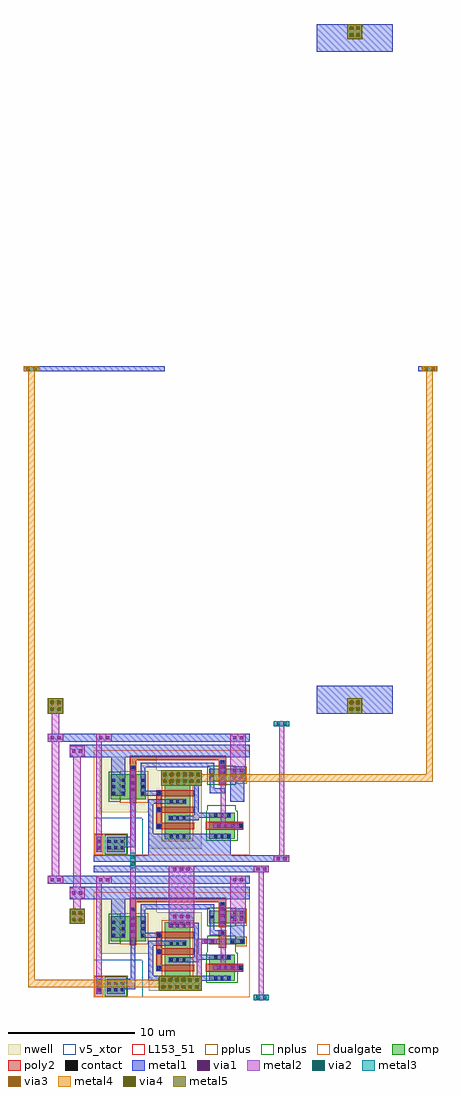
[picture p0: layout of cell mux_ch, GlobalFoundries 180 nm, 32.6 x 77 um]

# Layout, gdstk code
from math import pi, radians
import gdstk
lib = gdstk.Library(unit=1e-6, precision=1e-09)
def R(c, l, rs):  # rectangles x0, y0, x1, y1
    for r in rs: c.add(gdstk.rectangle(r[:2], r[2:], *l))
def A(c, l, x, y, w, h, nx, ny, dx, dy):  # array of equal rectangles
    R(c, l, [(x+i*dx, y+j*dy, x+i*dx+w, y+j*dy+h) for i in range(nx) for j in range(ny)])
def P(c, l, *ps):  # polygons
    for p in ps: c.add(gdstk.Polygon(p, *l))
nwell = (21, 0)
comp = (22, 0)
poly2 = (30, 0)
pplus = (31, 0)
nplus = (32, 0)
contact = (33, 0)
metal1 = (34, 0)
via1 = (35, 0)
metal2 = (36, 0)
via2 = (38, 0)
via3 = (40, 0)
via4 = (41, 0)
metal3 = (42, 0)
metal4 = (46, 0)
dualgate = (55, 0)
metal5 = (81, 0)
v5_xtor = (112, 1)
L153_51 = (153, 51)

via_dev_16 = lib.new_cell('via_dev$16')
R(via_dev_16, metal1, [(0,0,2,0.5)])
A(via_dev_16, via1, 0.34, 0.12, 0.26, 0.26, 3, 1, 0.53, 0)
R(via_dev_16, metal2, [(0,0,2,0.5)])

via_dev_14 = lib.new_cell('via_dev$14')
R(via_dev_14, metal1, [(0,0,2,1.2)])
A(via_dev_14, via1, 0.34, 0.205, 0.26, 0.26, 3, 2, 0.53, 0.53)
R(via_dev_14, metal2, [(0,0,2,1.2)])

via_dev_8 = lib.new_cell('via_dev$8')
R(via_dev_8, metal1, [(0,0,1.2,1.2)])
R(via_dev_8, via1, [(0.205,0.205,0.465,0.465), (0.735,0.205,0.995,0.465), (0.205,0.735,0.465,0.995), (0.735,0.735,0.995,0.995)])
R(via_dev_8, metal2, [(0,0,1.2,1.2)])

via_dev_5 = lib.new_cell('via_dev$5')
R(via_dev_5, metal1, [(0,0,1.2,0.6)])
R(via_dev_5, via1, [(0.205,0.17,0.465,0.43), (0.735,0.17,0.995,0.43)])
R(via_dev_5, metal2, [(0,0,1.2,0.6)])

via_dev_7 = lib.new_cell('via_dev$7')
R(via_dev_7, metal1, [(0,0,2,0.4)])
A(via_dev_7, via1, 0.34, 0.07, 0.26, 0.26, 3, 1, 0.53, 0)
R(via_dev_7, metal2, [(0,0,2,0.4)])

via_dev_4 = lib.new_cell('via_dev$4')
R(via_dev_4, metal1, [(0,0,0.4,2)])
A(via_dev_4, via1, 0.07, 0.34, 0.26, 0.26, 1, 3, 0, 0.53)
R(via_dev_4, metal2, [(0,0,0.4,2)])

via_dev = lib.new_cell('via_dev')
R(via_dev, metal1, [(0,0,3.4,1.2)])
A(via_dev, via1, 0.245, 0.205, 0.26, 0.26, 6, 2, 0.53, 0.53)
R(via_dev, metal2, [(0,0,3.4,1.2)])
A(via_dev, via2, 0.245, 0.205, 0.26, 0.26, 6, 2, 0.53, 0.53)
A(via_dev, via3, 0.245, 0.205, 0.26, 0.26, 6, 2, 0.53, 0.53)
A(via_dev, via4, 0.245, 0.205, 0.26, 0.26, 6, 2, 0.53, 0.53)
R(via_dev, metal3, [(0,0,3.4,1.2)])
R(via_dev, metal4, [(0,0,3.4,1.2)])
R(via_dev, metal5, [(0,0,3.4,1.2)])

pfet_3 = lib.new_cell('pfet$3')
R(pfet_3, nwell, [(-1.32,-1.37,3.17,2.99)])
R(pfet_3, comp, [(-0.46,0,2.31,2)])
R(pfet_3, poly2, [(0.31,-0.68,0.81,2.3)])
R(pfet_3, pplus, [(-0.63,-0.24,1.58,2.24)])
R(pfet_3, nplus, [(1.58,-0.17,2.48,2.17)])
A(pfet_3, contact, -0.34, 0.38, 0.22, 0.22, 1, 3, 0, 0.51)
A(pfet_3, contact, 1.24, 0.38, 0.22, 0.22, 1, 3, 0, 0.51)
A(pfet_3, contact, 1.97, 0.38, 0.22, 0.22, 1, 3, 0, 0.51)
R(pfet_3, contact, [(0.45,-0.6,0.67,-0.38)])
R(pfet_3, metal1, [(0.37,-0.68,0.75,-0.3), (-0.42,0.3,-0.04,1.7), (1.16,0.3,1.54,1.7), (1.89,0.3,2.27,1.7)])
R(pfet_3, dualgate, [(-1.82,-1.87,3.67,3.49)])
R(pfet_3, v5_xtor, [(-1.82,-1.87,3.67,3.49)])

nfet_3 = lib.new_cell('nfet$3')
R(nfet_3, comp, [(-0.42,0,1.64,2)])
R(nfet_3, poly2, [(0.31,-0.66,0.91,2.3)])
R(nfet_3, nplus, [(-0.59,-0.24,1.81,2.24)])
A(nfet_3, contact, -0.32, 0.38, 0.22, 0.22, 1, 3, 0, 0.51)
A(nfet_3, contact, 1.32, 0.38, 0.22, 0.22, 1, 3, 0, 0.51)
R(nfet_3, contact, [(0.5,-0.59,0.72,-0.37)])
R(nfet_3, metal1, [(0.42,-0.67,0.8,-0.29), (-0.4,0.3,-0.02,1.7), (1.24,0.3,1.62,1.7)])
R(nfet_3, dualgate, [(-0.84,-1.08,2.06,2.71)])
R(nfet_3, v5_xtor, [(-0.84,-1.08,2.06,2.71)])

pfet = lib.new_cell('pfet')
R(pfet, nwell, [(-1.24,-0.91,4.96,3.29)])
R(pfet, comp, [(-0.46,0,4.18,2)])
A(pfet, poly2, 0.31, -0.3, 0.5, 2.98, 3, 1, 1.3, 0)
R(pfet, pplus, [(-0.63,-0.24,4.35,2.24)])
A(pfet, contact, -0.34, 0.38, 0.22, 0.22, 1, 3, 0, 0.51)
A(pfet, contact, 1.1, 0.38, 0.22, 0.22, 1, 3, 0, 0.51)
A(pfet, contact, 2.4, 0.38, 0.22, 0.22, 1, 3, 0, 0.51)
A(pfet, contact, 3.84, 0.38, 0.22, 0.22, 1, 3, 0, 0.51)
A(pfet, contact, 0.45, 2.38, 0.22, 0.22, 3, 1, 1.3, 0)
A(pfet, metal1, 0.37, 2.3, 0.38, 0.38, 3, 1, 1.3, 0)
R(pfet, metal1, [(-0.42,0.3,-0.04,1.7), (1.02,0.3,1.4,1.7), (2.32,0.3,2.7,1.7), (3.76,0.3,4.14,1.7)])
R(pfet, dualgate, [(-1.74,-1.41,5.46,3.79)])
R(pfet, v5_xtor, [(-1.74,-1.41,5.46,3.79)])

nfet = lib.new_cell('nfet')
R(nfet, comp, [(-0.42,0,2.35,1)])
R(nfet, poly2, [(0.31,-0.3,0.91,1.66)])
R(nfet, pplus, [(1.64,-0.17,2.52,1.17)])
R(nfet, nplus, [(-0.59,-0.24,1.64,1.24)])
R(nfet, contact, [(-0.32,0.39,-0.1,0.61), (1.32,0.39,1.54,0.61), (2.03,0.39,2.25,0.61), (0.5,1.37,0.72,1.59)])
R(nfet, metal1, [(-0.4,0.31,-0.02,0.69), (1.24,0.31,1.62,0.69), (1.95,0.31,2.33,0.69), (0.42,1.29,0.8,1.67)])
R(nfet, dualgate, [(-0.84,-0.71,2.77,2.08)])
R(nfet, v5_xtor, [(-0.84,-0.71,2.77,2.08)])

diode_nw2ps = lib.new_cell('diode_nw2ps')
R(diode_nw2ps, nwell, [(0.64,-0.16,2.36,1.36)])
R(diode_nw2ps, comp, [(0,0,0.36,1.2), (0.8,0,2.2,1.2)])
R(diode_nw2ps, pplus, [(-0.16,-0.16,0.52,1.36)])
R(diode_nw2ps, nplus, [(0.64,-0.16,2.36,1.36)])
A(diode_nw2ps, contact, 0.89, 0.24, 0.22, 0.22, 3, 2, 0.5, 0.5)
R(diode_nw2ps, contact, [(0.07,0.24,0.29,0.46), (0.07,0.74,0.29,0.96)])
R(diode_nw2ps, metal1, [(0,0,0.36,1.2), (0.8,0,2.2,1.2)])
R(diode_nw2ps, dualgate, [(-0.24,-0.24,2.44,1.44)])
R(diode_nw2ps, L153_51, [(-0.24,-0.24,2.44,1.44)])

via_dev_12 = lib.new_cell('via_dev$12')
R(via_dev_12, metal1, [(0,0,0.4,1.2)])
R(via_dev_12, via1, [(0.07,0.205,0.33,0.465), (0.07,0.735,0.33,0.995)])
R(via_dev_12, metal2, [(0,0,0.4,1.2)])

via_dev_13 = lib.new_cell('via_dev$13')
R(via_dev_13, metal1, [(0,0,0.4,1.6)])
A(via_dev_13, via1, 0.07, 0.14, 0.26, 0.26, 1, 3, 0, 0.53)
R(via_dev_13, metal2, [(0,0,0.4,1.6)])

via_dev_15 = lib.new_cell('via_dev$15')
R(via_dev_15, metal1, [(0,0,1.2,0.4)])
R(via_dev_15, via1, [(0.205,0.07,0.465,0.33), (0.735,0.07,0.995,0.33)])
R(via_dev_15, metal2, [(0,0,1.2,0.4)])

nfet_5 = lib.new_cell('nfet$5')
P(nfet_5, comp, [(-0.42,-0.01),(-0.42,0.43),(0,0.43),(0,0.42),(1.22,0.42),(1.22,0.43),(2.35,0.43),(2.35,-0.01),(1.22,-0.01),(1.22,0),(0,0),(0,-0.01)])
R(nfet_5, poly2, [(0.31,-0.3,0.91,1.08)])
R(nfet_5, pplus, [(1.64,-0.17,2.52,0.59)])
R(nfet_5, nplus, [(-0.59,-0.25,1.64,0.67)])
R(nfet_5, contact, [(-0.32,0.1,-0.1,0.32), (1.32,0.1,1.54,0.32), (2.03,0.1,2.25,0.32), (0.5,0.79,0.72,1.01)])
R(nfet_5, metal1, [(-0.4,0.02,-0.02,0.4), (1.24,0.02,1.62,0.4), (1.95,0.02,2.33,0.4), (0.42,0.71,0.8,1.09)])
R(nfet_5, dualgate, [(-0.84,-0.71,2.77,1.5)])
R(nfet_5, v5_xtor, [(-0.84,-0.71,2.77,1.5)])

tgate_5v0_in = lib.new_cell('tgate_5v0_in')
R(tgate_5v0_in, poly2, [(1.265,0.465,1.645,3.565), (-0.44,5.5,-0.32,5.9)])
R(tgate_5v0_in, nplus, [(5.285,1.945,7.515,2.365)])
R(tgate_5v0_in, metal1, [(7.115,2.63,8.205,4.93), (-2.28,3.12,-1.17,6.45)])
R(tgate_5v0_in, metal2, [(2.245,5.115,4.245,8.285)])
R(tgate_5v0_in, dualgate, [(-3.68,-1.585,8.645,6.69)])
R(tgate_5v0_in, v5_xtor, [(0.155,-1.585,8.645,1.33), (-3.68,1.33,8.645,6.69)])
tgate_5v0_in.add(gdstk.FlexPath([(-3.68,8.535),(8.65,8.535)], 0.5, ends="flush", simple_path=True, layer=34, datatype=0))  # metal1
tgate_5v0_in.add(gdstk.FlexPath([(1.645,3.315),(0.14,3.315)], 0.38, ends="flush", simple_path=True, layer=34, datatype=0))  # metal1
tgate_5v0_in.add(gdstk.FlexPath([(-2.44,-0.54),(-0.38,-0.54)], 0.8, ends="flush", simple_path=True, layer=34, datatype=0))  # metal1
tgate_5v0_in.add(gdstk.FlexPath([(-3.68,7.69),(8.65,7.69)], 0.6, ends="flush", simple_path=True, layer=34, datatype=0))  # metal1
tgate_5v0_in.add(gdstk.FlexPath([(-3.68,6.645),(8.65,6.645)], 1, ends="flush", simple_path=True, layer=34, datatype=0))  # metal1
tgate_5v0_in.add(gdstk.FlexPath([(3.545,4.105),(4.435,4.105),(4.435,1.365),(3.4,1.365)], 0.38, ends="flush", simple_path=True, layer=34, datatype=0))  # metal1
tgate_5v0_in.add(gdstk.FlexPath([(2.545,2.665),(0.835,2.665),(0.835,-0.075),(2.47,-0.075)], 0.38, ends="flush", simple_path=True, layer=34, datatype=0))  # metal1
tgate_5v0_in.add(gdstk.FlexPath([(3.345,-0.075),(6.44,-0.075)], 0.38, ends="flush", simple_path=True, layer=34, datatype=0))  # metal1
tgate_5v0_in.add(gdstk.FlexPath([(5.85,1.565),(4.37,1.565)], 0.38, ends="flush", simple_path=True, layer=34, datatype=0))  # metal1
tgate_5v0_in.add(gdstk.FlexPath([(0.22,4.16),(0.22,5.545),(5.665,5.545),(5.665,4.55)], 0.38, ends="flush", simple_path=True, layer=34, datatype=0))  # metal1
tgate_5v0_in.add(gdstk.FlexPath([(-0.57,5.42),(-0.57,-0.625)], 0.38, ends="flush", simple_path=True, layer=34, datatype=0))  # metal1
tgate_5v0_in.add(gdstk.FlexPath([(5.665,4.69),(5.665,3.515),(6.675,3.515)], 0.38, ends="flush", simple_path=True, layer=34, datatype=0))  # metal1
tgate_5v0_in.add(gdstk.FlexPath([(-0.57,4.13),(-0.57,8.785)], 0.4, ends="flush", simple_path=True, layer=36, datatype=0))  # metal2
tgate_5v0_in.add(gdstk.FlexPath([(6.535,5.67),(6.535,0.545)], 0.4, ends="flush", simple_path=True, layer=36, datatype=0))  # metal2
tgate_5v0_in.add(gdstk.FlexPath([(6.005,2.83),(4.655,2.83),(4.655,-0.295)], 0.4, ends="flush", simple_path=True, layer=36, datatype=0))  # metal2
tgate_5v0_in.add(gdstk.FlexPath([(-3.255,-0.625),(-3.255,7.99)], 0.4, ends="flush", simple_path=True, layer=36, datatype=0))  # metal2
tgate_5v0_in.add(gdstk.FlexPath([(7.715,4.245),(7.715,7.99)], 1.2, ends="flush", simple_path=True, layer=36, datatype=0))  # metal2
tgate_5v0_in.add(gdstk.FlexPath([(-0.63,5.23),(-0.63,6.09),(6.785,6.09)], 0.38, ends="flush", simple_path=True, layer=30, datatype=0))  # poly2
tgate_5v0_in.add(gdstk.Reference(via_dev_16, (2.245,8.285)))
tgate_5v0_in.add(gdstk.Reference(via_dev_14, (2.245,3.915)))
tgate_5v0_in.add(gdstk.Reference(via_dev_8, (7.115,4.24)))
tgate_5v0_in.add(gdstk.Reference(via_dev_5, (7.115,7.39)))
tgate_5v0_in.add(gdstk.Reference(via_dev_5, (-3.455,7.39)))
tgate_5v0_in.add(gdstk.Reference(via_dev_7, (5.745,0.545)))
tgate_5v0_in.add(gdstk.Reference(via_dev_4, (-0.77,3.125)))
tgate_5v0_in.add(gdstk.Reference(via_dev, (1.455,-1.085)))
tgate_5v0_in.add(gdstk.Reference(pfet_3, (-0.01,4.82), rotation=pi))
tgate_5v0_in.add(gdstk.Reference(nfet_3, (7.455,0.135), rotation=pi/2))
tgate_5v0_in.add(gdstk.Reference(pfet, (3.945,0.155), rotation=pi/2))
tgate_5v0_in.add(gdstk.Reference(nfet, (5.875,4.24)))
tgate_5v0_in.add(gdstk.Reference(diode_nw2ps, (-3.435,-1.34)))
tgate_5v0_in.add(gdstk.Reference(via_dev_12, (-3.455,-1.345)))
tgate_5v0_in.add(gdstk.Reference(via_dev_13, (6.285,4.07)))
tgate_5v0_in.add(gdstk.Reference(via_dev_15, (4.855,2.63)))
tgate_5v0_in.add(gdstk.Reference(nfet_5, (5.875,2.615)))
tgate_5v0_in.add(gdstk.Label('IN', (8.32,8.395), layer=34, texttype=10))
tgate_5v0_in.add(gdstk.Label('VSS', (8.245,7.535), layer=34, texttype=10))
tgate_5v0_in.add(gdstk.Label('VDD_DEC', (8.3,6.365), layer=34, texttype=10))
tgate_5v0_in.add(gdstk.Label('SEL', (-0.63,8.38), layer=36, texttype=10))
tgate_5v0_in.add(gdstk.Label('DUT_IN', (4.79,-1.03), layer=36, texttype=10))

via_dev_13_1 = lib.new_cell('via_dev$13$1')
R(via_dev_13_1, metal1, [(0,0,0.4,1.6)])
A(via_dev_13_1, via1, 0.07, 0.14, 0.26, 0.26, 1, 3, 0, 0.53)
R(via_dev_13_1, metal2, [(0,0,0.4,1.6)])

via_dev_12_1 = lib.new_cell('via_dev$12$1')
R(via_dev_12_1, metal1, [(0,0,0.4,1.2)])
R(via_dev_12_1, via1, [(0.07,0.205,0.33,0.465), (0.07,0.735,0.33,0.995)])
R(via_dev_12_1, metal2, [(0,0,0.4,1.2)])

diode_nw2ps_1 = lib.new_cell('diode_nw2ps$1')
R(diode_nw2ps_1, nwell, [(0.64,-0.16,2.36,1.36)])
R(diode_nw2ps_1, comp, [(0,0,0.36,1.2), (0.8,0,2.2,1.2)])
R(diode_nw2ps_1, pplus, [(-0.16,-0.16,0.52,1.36)])
R(diode_nw2ps_1, nplus, [(0.64,-0.16,2.36,1.36)])
A(diode_nw2ps_1, contact, 0.89, 0.24, 0.22, 0.22, 3, 2, 0.5, 0.5)
R(diode_nw2ps_1, contact, [(0.07,0.24,0.29,0.46), (0.07,0.74,0.29,0.96)])
R(diode_nw2ps_1, metal1, [(0,0,0.36,1.2), (0.8,0,2.2,1.2)])
R(diode_nw2ps_1, dualgate, [(-0.24,-0.24,2.44,1.44)])
R(diode_nw2ps_1, L153_51, [(-0.24,-0.24,2.44,1.44)])

nfet_1 = lib.new_cell('nfet$1')
R(nfet_1, comp, [(-0.42,0,2.35,1)])
R(nfet_1, poly2, [(0.31,-0.3,0.91,1.66)])
R(nfet_1, pplus, [(1.64,-0.17,2.52,1.17)])
R(nfet_1, nplus, [(-0.59,-0.24,1.64,1.24)])
R(nfet_1, contact, [(-0.32,0.39,-0.1,0.61), (1.32,0.39,1.54,0.61), (2.03,0.39,2.25,0.61), (0.5,1.37,0.72,1.59)])
R(nfet_1, metal1, [(-0.4,0.31,-0.02,0.69), (1.24,0.31,1.62,0.69), (1.95,0.31,2.33,0.69), (0.42,1.29,0.8,1.67)])
R(nfet_1, dualgate, [(-0.84,-0.71,2.77,2.08)])
R(nfet_1, v5_xtor, [(-0.84,-0.71,2.77,2.08)])

pfet_1 = lib.new_cell('pfet$1')
R(pfet_1, nwell, [(-1.24,-0.91,4.96,3.29)])
R(pfet_1, comp, [(-0.46,0,4.18,2)])
A(pfet_1, poly2, 0.31, -0.3, 0.5, 2.98, 3, 1, 1.3, 0)
R(pfet_1, pplus, [(-0.63,-0.24,4.35,2.24)])
A(pfet_1, contact, -0.34, 0.38, 0.22, 0.22, 1, 3, 0, 0.51)
A(pfet_1, contact, 1.1, 0.38, 0.22, 0.22, 1, 3, 0, 0.51)
A(pfet_1, contact, 2.4, 0.38, 0.22, 0.22, 1, 3, 0, 0.51)
A(pfet_1, contact, 3.84, 0.38, 0.22, 0.22, 1, 3, 0, 0.51)
A(pfet_1, contact, 0.45, 2.38, 0.22, 0.22, 3, 1, 1.3, 0)
A(pfet_1, metal1, 0.37, 2.3, 0.38, 0.38, 3, 1, 1.3, 0)
R(pfet_1, metal1, [(-0.42,0.3,-0.04,1.7), (1.02,0.3,1.4,1.7), (2.32,0.3,2.7,1.7), (3.76,0.3,4.14,1.7)])
R(pfet_1, dualgate, [(-1.74,-1.41,5.46,3.79)])
R(pfet_1, v5_xtor, [(-1.74,-1.41,5.46,3.79)])

nfet_3_1 = lib.new_cell('nfet$3$1')
R(nfet_3_1, comp, [(-0.42,0,1.64,2)])
R(nfet_3_1, poly2, [(0.31,-0.66,0.91,2.3)])
R(nfet_3_1, nplus, [(-0.59,-0.24,1.81,2.24)])
A(nfet_3_1, contact, -0.32, 0.38, 0.22, 0.22, 1, 3, 0, 0.51)
A(nfet_3_1, contact, 1.32, 0.38, 0.22, 0.22, 1, 3, 0, 0.51)
R(nfet_3_1, contact, [(0.5,-0.59,0.72,-0.37)])
R(nfet_3_1, metal1, [(0.42,-0.67,0.8,-0.29), (-0.4,0.3,-0.02,1.7), (1.24,0.3,1.62,1.7)])
R(nfet_3_1, dualgate, [(-0.84,-1.08,2.06,2.71)])
R(nfet_3_1, v5_xtor, [(-0.84,-1.08,2.06,2.71)])

pfet_3_1 = lib.new_cell('pfet$3$1')
R(pfet_3_1, nwell, [(-1.32,-1.37,3.17,2.99)])
R(pfet_3_1, comp, [(-0.46,0,2.31,2)])
R(pfet_3_1, poly2, [(0.31,-0.68,0.81,2.3)])
R(pfet_3_1, pplus, [(-0.63,-0.24,1.58,2.24)])
R(pfet_3_1, nplus, [(1.58,-0.17,2.48,2.17)])
A(pfet_3_1, contact, -0.34, 0.38, 0.22, 0.22, 1, 3, 0, 0.51)
A(pfet_3_1, contact, 1.24, 0.38, 0.22, 0.22, 1, 3, 0, 0.51)
A(pfet_3_1, contact, 1.97, 0.38, 0.22, 0.22, 1, 3, 0, 0.51)
R(pfet_3_1, contact, [(0.45,-0.6,0.67,-0.38)])
R(pfet_3_1, metal1, [(0.37,-0.68,0.75,-0.3), (-0.42,0.3,-0.04,1.7), (1.16,0.3,1.54,1.7), (1.89,0.3,2.27,1.7)])
R(pfet_3_1, dualgate, [(-1.82,-1.87,3.67,3.49)])
R(pfet_3_1, v5_xtor, [(-1.82,-1.87,3.67,3.49)])

via_dev_4_1 = lib.new_cell('via_dev$4$1')
R(via_dev_4_1, metal1, [(0,0,0.4,2)])
A(via_dev_4_1, via1, 0.07, 0.34, 0.26, 0.26, 1, 3, 0, 0.53)
R(via_dev_4_1, metal2, [(0,0,0.4,2)])

via_dev_7_1 = lib.new_cell('via_dev$7$1')
R(via_dev_7_1, metal1, [(0,0,2,0.4)])
A(via_dev_7_1, via1, 0.34, 0.07, 0.26, 0.26, 3, 1, 0.53, 0)
R(via_dev_7_1, metal2, [(0,0,2,0.4)])

via_dev_5_1 = lib.new_cell('via_dev$5$1')
R(via_dev_5_1, metal1, [(0,0,1.2,0.6)])
R(via_dev_5_1, via1, [(0.205,0.17,0.465,0.43), (0.735,0.17,0.995,0.43)])
R(via_dev_5_1, metal2, [(0,0,1.2,0.6)])

via_dev_8_1 = lib.new_cell('via_dev$8$1')
R(via_dev_8_1, metal1, [(0,0,1.2,1.2)])
R(via_dev_8_1, via1, [(0.205,0.205,0.465,0.465), (0.735,0.205,0.995,0.465), (0.205,0.735,0.465,0.995), (0.735,0.735,0.995,0.995)])
R(via_dev_8_1, metal2, [(0,0,1.2,1.2)])

via_dev_17 = lib.new_cell('via_dev$17')
R(via_dev_17, metal1, [(0,0,3.2,1.2)])
A(via_dev_17, via1, 0.145, 0.205, 0.26, 0.26, 6, 2, 0.53, 0.53)
R(via_dev_17, metal2, [(0,0,3.2,1.2)])
A(via_dev_17, via2, 0.145, 0.205, 0.26, 0.26, 6, 2, 0.53, 0.53)
A(via_dev_17, via3, 0.145, 0.205, 0.26, 0.26, 6, 2, 0.53, 0.53)
A(via_dev_17, via4, 0.145, 0.205, 0.26, 0.26, 6, 2, 0.53, 0.53)
R(via_dev_17, metal3, [(0,0,3.2,1.2)])
R(via_dev_17, metal4, [(0,0,3.2,1.2)])
R(via_dev_17, metal5, [(0,0,3.2,1.2)])

tgate_5v0_out = lib.new_cell('tgate_5v0_out')
R(tgate_5v0_out, poly2, [(1.265,0.465,1.645,3.565), (-0.44,5.5,-0.32,5.9)])
R(tgate_5v0_out, nplus, [(5.285,1.945,7.515,2.365)])
R(tgate_5v0_out, metal1, [(0.645,-1.585,7.155,-0.265), (7.115,2.63,8.205,4.93), (-2.28,3.12,-1.17,6.45)])
R(tgate_5v0_out, dualgate, [(-3.68,-1.585,8.645,6.69)])
R(tgate_5v0_out, v5_xtor, [(0.155,-1.585,8.645,1.33), (-3.68,1.33,8.645,6.69)])
tgate_5v0_out.add(gdstk.FlexPath([(-3.68,-1.835),(8.645,-1.835)], 0.5, ends="flush", simple_path=True, layer=34, datatype=0))  # metal1
tgate_5v0_out.add(gdstk.FlexPath([(1.645,3.315),(0.14,3.315)], 0.38, ends="flush", simple_path=True, layer=34, datatype=0))  # metal1
tgate_5v0_out.add(gdstk.FlexPath([(-2.44,-0.54),(-0.38,-0.54)], 0.8, ends="flush", simple_path=True, layer=34, datatype=0))  # metal1
tgate_5v0_out.add(gdstk.FlexPath([(-3.68,7.69),(8.65,7.69)], 0.6, ends="flush", simple_path=True, layer=34, datatype=0))  # metal1
tgate_5v0_out.add(gdstk.FlexPath([(-3.68,6.645),(8.65,6.645)], 1, ends="flush", simple_path=True, layer=34, datatype=0))  # metal1
tgate_5v0_out.add(gdstk.FlexPath([(3.545,4.105),(4.435,4.105),(4.435,1.365),(3.4,1.365)], 0.38, ends="flush", simple_path=True, layer=34, datatype=0))  # metal1
tgate_5v0_out.add(gdstk.FlexPath([(2.545,2.665),(0.835,2.665),(0.835,-0.075),(2.47,-0.075)], 0.38, ends="flush", simple_path=True, layer=34, datatype=0))  # metal1
tgate_5v0_out.add(gdstk.FlexPath([(3.345,-0.075),(6.44,-0.075)], 0.38, ends="flush", simple_path=True, layer=34, datatype=0))  # metal1
tgate_5v0_out.add(gdstk.FlexPath([(5.85,1.565),(4.37,1.565)], 0.38, ends="flush", simple_path=True, layer=34, datatype=0))  # metal1
tgate_5v0_out.add(gdstk.FlexPath([(0.22,4.16),(0.22,5.545),(5.665,5.545),(5.665,4.55)], 0.38, ends="flush", simple_path=True, layer=34, datatype=0))  # metal1
tgate_5v0_out.add(gdstk.FlexPath([(-0.57,5.42),(-0.57,-0.625)], 0.38, ends="flush", simple_path=True, layer=34, datatype=0))  # metal1
tgate_5v0_out.add(gdstk.FlexPath([(5.665,4.69),(5.665,3.515),(6.675,3.515)], 0.38, ends="flush", simple_path=True, layer=34, datatype=0))  # metal1
tgate_5v0_out.add(gdstk.FlexPath([(-0.57,-1.585),(-0.57,5.125)], 0.4, ends="flush", simple_path=True, layer=36, datatype=0))  # metal2
tgate_5v0_out.add(gdstk.FlexPath([(6.535,5.67),(6.535,0.545)], 0.4, ends="flush", simple_path=True, layer=36, datatype=0))  # metal2
tgate_5v0_out.add(gdstk.FlexPath([(-3.255,-0.625),(-3.255,7.99)], 0.4, ends="flush", simple_path=True, layer=36, datatype=0))  # metal2
tgate_5v0_out.add(gdstk.FlexPath([(7.715,4.245),(7.715,7.99)], 1.2, ends="flush", simple_path=True, layer=36, datatype=0))  # metal2
tgate_5v0_out.add(gdstk.FlexPath([(-0.63,5.23),(-0.63,6.09),(6.785,6.09)], 0.38, ends="flush", simple_path=True, layer=30, datatype=0))  # poly2
tgate_5v0_out.add(gdstk.Reference(via_dev_13_1, (6.285,4.07)))
tgate_5v0_out.add(gdstk.Reference(via_dev_12_1, (-3.455,-1.345)))
tgate_5v0_out.add(gdstk.Reference(diode_nw2ps_1, (-3.435,-1.34)))
tgate_5v0_out.add(gdstk.Reference(nfet_1, (5.875,4.24)))
tgate_5v0_out.add(gdstk.Reference(pfet_1, (3.945,0.155), rotation=pi/2))
tgate_5v0_out.add(gdstk.Reference(nfet_3_1, (7.455,0.135), rotation=pi/2))
tgate_5v0_out.add(gdstk.Reference(pfet_3_1, (-0.01,4.82), rotation=pi))
tgate_5v0_out.add(gdstk.Reference(via_dev_4_1, (-0.77,3.125)))
tgate_5v0_out.add(gdstk.Reference(via_dev_7_1, (5.745,0.545)))
tgate_5v0_out.add(gdstk.Reference(via_dev_5_1, (-3.455,7.39)))
tgate_5v0_out.add(gdstk.Reference(via_dev_5_1, (7.115,7.39)))
tgate_5v0_out.add(gdstk.Reference(via_dev_8_1, (7.115,4.24)))
tgate_5v0_out.add(gdstk.Reference(via_dev_17, (1.655,3.915)))
tgate_5v0_out.add(gdstk.Label('OUT', (4.795,-1.94), layer=34, texttype=10))
tgate_5v0_out.add(gdstk.Label('VSS', (8.245,7.535), layer=34, texttype=10))
tgate_5v0_out.add(gdstk.Label('VDD_DEC', (8.3,6.365), layer=34, texttype=10))
tgate_5v0_out.add(gdstk.Label('DUT_OUT', (4.79,4.945), layer=36, texttype=10))
tgate_5v0_out.add(gdstk.Label('SEL', (-0.63,-1.45), layer=36, texttype=10))

via_dev_18 = lib.new_cell('via_dev$18')
R(via_dev_18, metal2, [(0,0,0.4,1.2)])
R(via_dev_18, via2, [(0.07,0.205,0.33,0.465), (0.07,0.735,0.33,0.995)])
R(via_dev_18, metal3, [(0,0,0.4,1.2)])

via_dev_19 = lib.new_cell('via_dev$19')
R(via_dev_19, metal1, [(0,0,1.2,0.8)])
R(via_dev_19, via1, [(0.205,0.27,0.465,0.53), (0.735,0.27,0.995,0.53)])
R(via_dev_19, metal2, [(0,0,1.2,0.8)])

via_dev_20 = lib.new_cell('via_dev$20')
R(via_dev_20, metal1, [(0,0,1.2,0.6)])
R(via_dev_20, via1, [(0.205,0.17,0.465,0.43), (0.735,0.17,0.995,0.43)])
R(via_dev_20, metal2, [(0,0,1.2,0.6)])

via_dev_21 = lib.new_cell('via_dev$21')
R(via_dev_21, metal2, [(0,0,1.2,1.2)])
R(via_dev_21, via2, [(0.205,0.205,0.465,0.465), (0.735,0.205,0.995,0.465), (0.205,0.735,0.465,0.995), (0.735,0.735,0.995,0.995)])
R(via_dev_21, via3, [(0.205,0.205,0.465,0.465), (0.735,0.205,0.995,0.465), (0.205,0.735,0.465,0.995), (0.735,0.735,0.995,0.995)])
R(via_dev_21, via4, [(0.205,0.205,0.465,0.465), (0.735,0.205,0.995,0.465), (0.205,0.735,0.465,0.995), (0.735,0.735,0.995,0.995)])
R(via_dev_21, metal3, [(0,0,1.2,1.2)])
R(via_dev_21, metal4, [(0,0,1.2,1.2)])
R(via_dev_21, metal5, [(0,0,1.2,1.2)])

via_dev_22 = lib.new_cell('via_dev$22')
R(via_dev_22, metal1, [(0,0,1.2,0.5)])
R(via_dev_22, via1, [(0.205,0.12,0.465,0.38), (0.735,0.12,0.995,0.38)])
R(via_dev_22, metal2, [(0,0,1.2,0.5)])

via_dev_23 = lib.new_cell('via_dev$23')
R(via_dev_23, metal2, [(0,0,1.2,0.4)])
R(via_dev_23, via2, [(0.205,0.07,0.465,0.33), (0.735,0.07,0.995,0.33)])
R(via_dev_23, metal3, [(0,0,1.2,0.4)])

via_dev_24 = lib.new_cell('via_dev$24')
R(via_dev_24, metal1, [(0,0,1.2,0.4)])
R(via_dev_24, via1, [(0.205,0.07,0.465,0.33), (0.735,0.07,0.995,0.33)])
R(via_dev_24, metal2, [(0,0,1.2,0.4)])
R(via_dev_24, via2, [(0.205,0.07,0.465,0.33), (0.735,0.07,0.995,0.33)])
R(via_dev_24, via3, [(0.205,0.07,0.465,0.33), (0.735,0.07,0.995,0.33)])
R(via_dev_24, metal3, [(0,0,1.2,0.4)])
R(via_dev_24, metal4, [(0,0,1.2,0.4)])

via_dev_25 = lib.new_cell('via_dev$25')
R(via_dev_25, metal1, [(0,0,1.2,1.2)])
R(via_dev_25, via1, [(0.205,0.205,0.465,0.465), (0.735,0.205,0.995,0.465), (0.205,0.735,0.465,0.995), (0.735,0.735,0.995,0.995)])
R(via_dev_25, metal2, [(0,0,1.2,1.2)])
R(via_dev_25, via2, [(0.205,0.205,0.465,0.465), (0.735,0.205,0.995,0.465), (0.205,0.735,0.465,0.995), (0.735,0.735,0.995,0.995)])
R(via_dev_25, via3, [(0.205,0.205,0.465,0.465), (0.735,0.205,0.995,0.465), (0.205,0.735,0.465,0.995), (0.735,0.735,0.995,0.995)])
R(via_dev_25, via4, [(0.205,0.205,0.465,0.465), (0.735,0.205,0.995,0.465), (0.205,0.735,0.465,0.995), (0.735,0.735,0.995,0.995)])
R(via_dev_25, metal3, [(0,0,1.2,1.2)])
R(via_dev_25, metal4, [(0,0,1.2,1.2)])
R(via_dev_25, metal5, [(0,0,1.2,1.2)])

mux_ch = lib.new_cell('mux_ch')
R(mux_ch, metal1, [(10.5,10.145,12.4,11.145), (8.8,11.39,12.4,11.99), (24.63,12.285,26.23,12.785), (24.63,13.115,27.83,13.615), (10.5,21.345,12.4,22.345), (8.8,22.59,12.4,23.19), (30,24.8,36,27), (7.5,51.8,18,52.2), (38,51.8,38.9,52.2), (30,77,36,79.2)])
R(mux_ch, metal2, [(25.43,2.4,25.83,12.535), (10.8,8.8,11.4,21.845), (9.1,11.69,9.7,25.4), (15.31,12.6,15.71,13.8), (27.03,13.365,27.43,24)])
R(mux_ch, metal4, [(7.25,3.215,19.235,3.815), (7.25,3.215,7.75,52.2), (19.335,19.415,39.15,20.015), (38.65,19.415,39.15,52.2)])
mux_ch.add(gdstk.Reference(tgate_5v0_in, (16.08,4)))
mux_ch.add(gdstk.Reference(tgate_5v0_out, (16.08,15.2)))
mux_ch.add(gdstk.Reference(via_dev_18, (15.31,12.6)))
mux_ch.add(gdstk.Reference(via_dev_19, (10.5,10.245)))
mux_ch.add(gdstk.Reference(via_dev_20, (8.8,11.39)))
mux_ch.add(gdstk.Reference(via_dev_19, (10.5,21.445)))
mux_ch.add(gdstk.Reference(via_dev_20, (8.8,22.59)))
mux_ch.add(gdstk.Reference(via_dev_21, (8.8,24.8)))
mux_ch.add(gdstk.Reference(via_dev_21, (10.5,8.2)))
mux_ch.add(gdstk.Reference(via_dev_22, (25.03,12.285)))
mux_ch.add(gdstk.Reference(via_dev_23, (25.03,2.2)))
mux_ch.add(gdstk.Reference(via_dev_22, (26.63,13.115)))
mux_ch.add(gdstk.Reference(via_dev_23, (26.63,23.8)))
mux_ch.add(gdstk.Reference(via_dev_24, (6.9,51.8)))
mux_ch.add(gdstk.Reference(via_dev_24, (38.3,51.8)))
mux_ch.add(gdstk.Reference(via_dev_25, (32.4,24.8)))
mux_ch.add(gdstk.Reference(via_dev_25, (32.4,78)))

lib.write_gds('mux_ch.gds')
